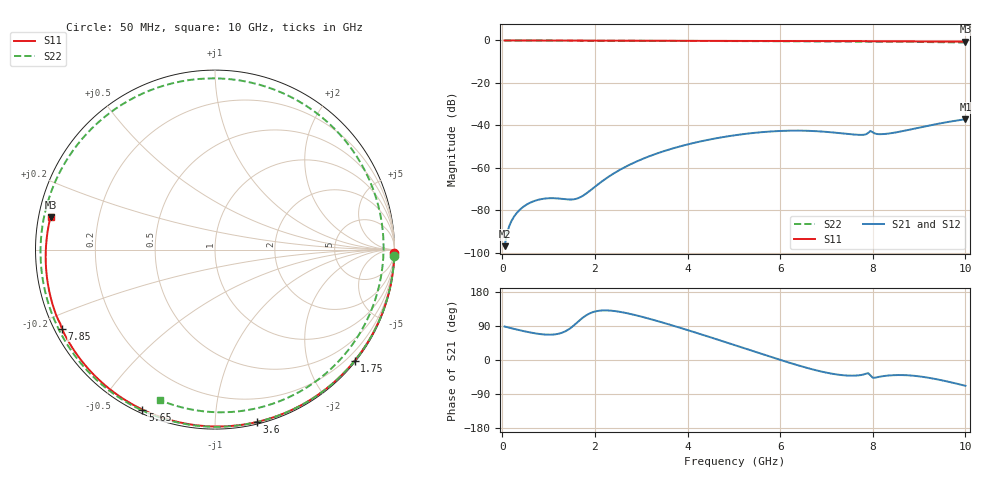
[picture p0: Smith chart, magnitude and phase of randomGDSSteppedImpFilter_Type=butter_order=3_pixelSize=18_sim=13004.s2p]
! freq	dB(S11)	phase(S11)	dB(S12)	phase(S12)
!  dB(S21)	phase(S21)	dB(S22)	phase(S22)
!S-par simulation data
#  GHz  S  DB  R 50
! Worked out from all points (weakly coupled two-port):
!   200 points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, 50 MHz to 10 GHz, reference 50 ohm
!   highest |S21| = -37.12 dB at 10 GHz (marker M1); lowest = -96.9 dB at 50 MHz (marker M2)
!   lowest |S11| = -0.6 dB at 10 GHz (marker M3), VSWR 29.46, Z = 1.71 + j4.91 ohm
!   |S11| at or under -10 dB: nowhere
!   |S22| runs from -1.0 to 0.0 dB; largest |S21 - S12| = 0
!   S11 on the Smith chart (normalised r, x): 50 MHz: open; 1.75 GHz: 0.03, -2.86; 3.6 GHz: 0.02, -1.27; 5.65 GHz: 0.02, -0.64; 7.85 GHz: 0.02, -0.24; 10 GHz: 0.03, +0.10
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0.05  -0.00 -1.1  -96.93 88.4  -96.93 88.4  -0.00 -2.1
0.35  -0.01 -7.8  -80.37 79.3  -80.37 79.3  -0.02 -14.4
0.8  -0.02 -17.8  -74.95 68.7  -74.95 68.7  -0.04 -32.8
1.5  -0.04 -33.1  -74.95 86.7  -74.95 86.7  -0.08 -60.7
1.75  -0.05 -38.5  -73.05 112.7  -73.05 112.7  -0.09 -70.5
2.55  -0.07 -55.3  -60.83 126.9  -60.83 126.9  -0.13 -101.2
3.4  -0.10 -72.4  -52.80 101.1  -52.80 101.1  -0.17 -133.6
3.6  -0.10 -76.4  -51.41 93.9  -51.41 93.9  -0.18 -141.3
4.35  -0.13 -90.7  -47.25 65.6  -47.25 65.6  -0.23 -171.0
5.05  -0.16 -103.7  -44.58 38.1  -44.58 38.1  -0.29 158.9
5.65  -0.19 -114.4  -43.12 14.2  -43.12 14.2  -0.34 130.4
6.2  -0.22 -124.1  -42.52 -7.2  -42.52 -7.2  -0.39 101.4
6.7  -0.25 -132.8  -42.66 -24.8  -42.66 -24.8  -0.44 72.8
7.35  -0.30 -144.0  -43.81 -40.1  -43.81 -40.1  -0.49 33.4
7.85  -0.35 -152.7  -44.23 -36.3  -44.23 -36.3  -0.54 3.0
7.95  -0.39 -154.4  -42.66 -40.5  -42.66 -40.5  -0.55 -3.0
8.1  -0.38 -156.9  -44.11 -45.3  -44.11 -45.3  -0.57 -11.9
8.35  -0.40 -161.2  -43.84 -40.9  -43.84 -40.9  -0.60 -26.3
8.75  -0.44 -168.3  -42.24 -40.3  -42.24 -40.3  -0.67 -48.4
9.15  -0.49 -175.5  -40.38 -45.8  -40.38 -45.8  -0.75 -69.3
9.55  -0.53 177.2  -38.70 -55.1  -38.70 -55.1  -0.85 -89.0
10  -0.59 168.8  -37.12 -68.1  -37.12 -68.1  -0.99 -110.2
